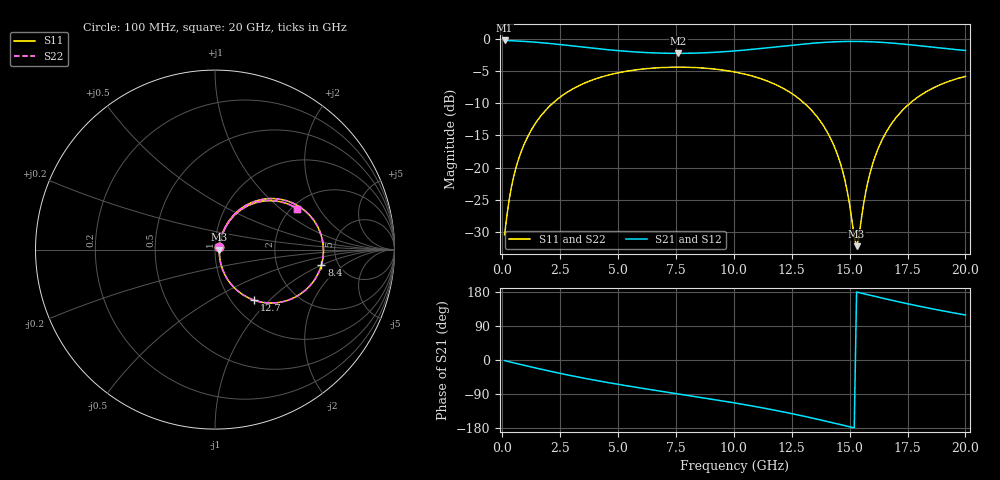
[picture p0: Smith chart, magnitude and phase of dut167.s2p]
! Touchstone file exported from HFSS 2026.1.0
!  File:  C:/ffzhzh/LocalFiles/Ansys_Project_Files/temp_train_TSV_RDL_167_1783054760_18316.aedt
!  Generated:  01:12:17 PM Jul  3, 2026
!  Design:  TSV_RDL
!  Project:  temp_train_TSV_RDL_167_1783054760_18316
! Variables:
!  h_bsmrdl = 3.77um
!  h_ox = 20um
!  h_rdl = 5um
!  h_sub = 61.94um
!  h_tmrdl = 2.27um
!  h_tsv = 61.94um
!  h_via = 3um
!  l_bsmrdl = 106.63um
!  l_sub = 4149.02um
!  l_tmrdl = 828.37um
!  m_sub = 200um
!  pitch = 59.81um
!  r_tsv = 4.2um
!  s_tmrdl = 10um
!  w_bsmrdl = 10.38um
!  w_sub = 500um
!  w_tmrdl = 28.17um
!  x_tsv_center1 = 842.455um
!  x_tsv_center2 = 959.465um
!  x_tsv_center3 = 1816.005um
!  x_tsv_center4 = 1933.015um
!  x_tsv_center5 = 2789.555um
!  x_tsv_center6 = 2906.565um
# GHz S MA R 50.000000
! Terminal data exported
! Port[1] = TM_RDL1_1_T1
! Port[2] = TM_RDL5_1_T1
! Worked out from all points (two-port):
!   200 points, 100 MHz to 20 GHz, reference 50 ohm
!   highest |S21| = -0.22 dB at 100 MHz (marker M1); lowest = -2.2 dB at 7.6 GHz (marker M2)
!   |S21| within 3 dB of the highest: start of sweep to end of sweep
!   lowest |S11| = -32.2 dB at 15.3 GHz (marker M3), VSWR 1.05, Z = 52.5 - j0.0811 ohm
!   |S11| at or under -10 dB: start of sweep to 2.176 GHz; 13.05 GHz to 17.6 GHz (4.556 GHz wide, 29.7 % of centre)
!   |S22| runs from -32.3 to -4.4 dB; largest |S21 - S12| = 2.6e-14
!   S11 on the Smith chart (normalised r, x): 100 MHz: 1.05, +0.03; 8.4 GHz: 3.71, -0.99; 12.7 GHz: 1.26, -0.81; 20 GHz: 2.14, +1.32
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0.1  0.02999 33.3  0.9752 -1.6  0.9752 -1.6  0.02999 33.3
! Gamma 0 0 0 0
! Port Impedance 50 0 50 0
0.3  0.05661 57.9  0.9727 -4.6  0.9727 -4.6  0.05661 57.9
0.5  0.08619 63.8  0.969 -7.6  0.969 -7.6  0.0862 63.8
1.1  0.1741 64.1  0.9552 -16.3  0.9552 -16.3  0.1741 64.1
2.1  0.3072 54.4  0.9222 -30.1  0.9222 -30.1  0.3072 54.4
3.5  0.4499 38.9  0.8654 -47.7  0.8654 -47.7  0.4499 38.9
5.2  0.5549 21.4  0.8067 -66.3  0.8067 -66.3  0.5549 21.4
6.8  0.5989 6.3  0.7776 -82.0  0.7776 -82.0  0.5989 6.3
7.6  0.6043 -0.9  0.774 -89.5  0.774 -89.5  0.6042 -0.9
8.4  0.5992 -8.2  0.778 -97.1  0.778 -97.1  0.5992 -8.2
10.1  0.5514 -24.3  0.8102 -113.9  0.8102 -113.9  0.5513 -24.4
12.7  0.3557 -52.3  0.9034 -144.1  0.9034 -144.1  0.3557 -52.4
13.4  0.2732 -60.3  0.928 -153.4  0.928 -153.4  0.2731 -60.3
14.1  0.1795 -67.1  0.947 -163.2  0.947 -163.2  0.1794 -67.2
14.6  0.108 -68.9  0.9554 -170.4  0.9554 -170.4  0.108 -69.0
14.9  0.06513 -64.2  0.9581 -174.8  0.9581 -174.8  0.06503 -64.4
15.3  0.02442 -1.8  0.9586 179.4  0.9586 179.4  0.0242 -1.8
15.7  0.06504 60.3  0.9556 173.5  0.9556 173.5  0.06497 60.4
15.9  0.09323 64.3  0.9528 170.6  0.9528 170.6  0.09319 64.4
16.7  0.2047 61.5  0.9345 159.3  0.9345 159.3  0.2047 61.6
18  0.3588 47.6  0.8881 142.0  0.8881 142.0  0.3588 47.7
20  0.5121 26.4  0.8146 118.8  0.8146 118.8  0.5121 26.4
